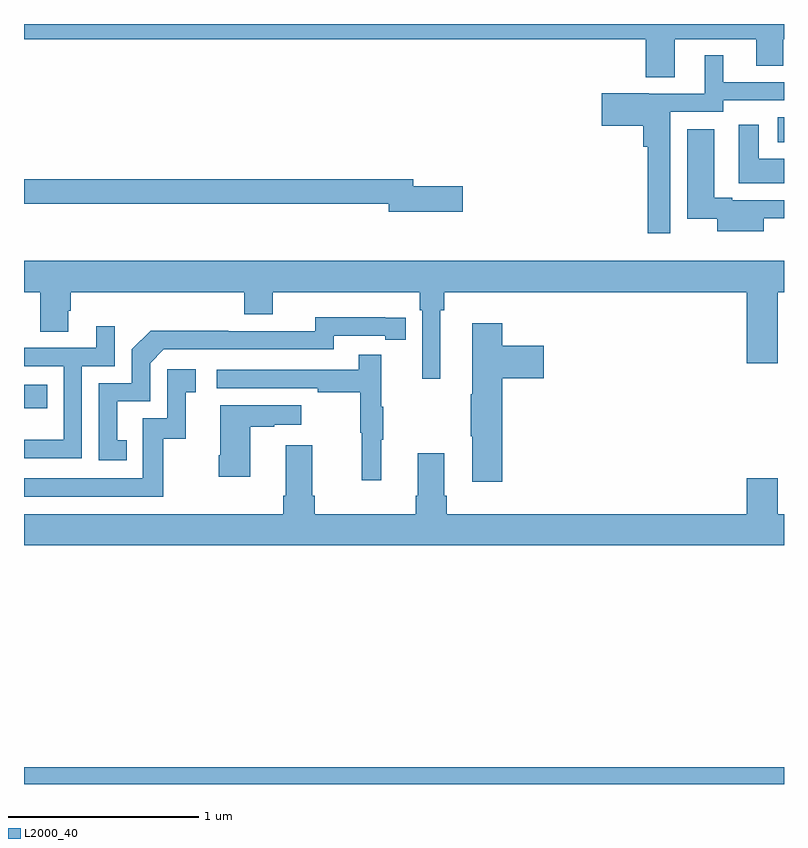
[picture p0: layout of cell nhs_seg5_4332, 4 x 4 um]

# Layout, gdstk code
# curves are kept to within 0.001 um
import gdstk
lib = gdstk.Library(unit=1e-6, precision=1e-09)
def R(c, l, rs):  # rectangles x0, y0, x1, y1
    for r in rs: c.add(gdstk.rectangle(r[:2], r[2:], *l))
def P(c, l, *ps):  # polygons
    for p in ps: c.add(gdstk.Polygon(p, *l))
L2000_40 = (2000, 40)

nhs_seg5_4332 = lib.new_cell('nhs_seg5_4332')
R(nhs_seg5_4332, L2000_40, [(365,892.799,369,892.888), (365,894.777,365.123,894.9), (368.967,896.177,369,896.308)])
P(nhs_seg5_4332, L2000_40, [(365,896.72),(368.273,896.72),(368.273,896.519),(368.425,896.519),(368.425,896.72),(368.855,896.72),(368.855,896.578),(368.995,896.578),(368.995,896.72),(369,896.72),(369,896.799),(365,896.799)],
  [(368.4,896.337),(368.679,896.337),(368.679,896.397),(369,896.397),(369,896.493),(368.68,896.493),(368.68,896.635),(368.582,896.635),(368.582,896.433),(368.289,896.433),(368.289,896.434),(368.04,896.434),(368.04,896.264),(368.258,896.264),(368.258,896.153),(368.284,896.153),(368.284,895.698),(368.4,895.698)],
  [(369,896.089),(368.866,896.089),(368.866,896.269),(368.762,896.269),(368.762,895.961),(369,895.961)],
  [(368.893,895.776),(369,895.776),(369,895.872),(368.728,895.872),(368.728,895.885),(368.632,895.885),(368.632,896.245),(368.492,896.245),(368.492,895.774),(368.648,895.774),(368.648,895.709),(368.893,895.709)],
  [(367.309,895.946),(367.048,895.946),(367.048,895.982),(365,895.982),(365,895.854),(366.92,895.854),(366.92,895.811),(367.309,895.811)],
  [(367.192,895.292),(367.211,895.292),(367.211,895.388),(368.804,895.388),(368.804,895.014),(368.968,895.014),(368.968,895.388),(369,895.388),(369,895.552),(365,895.552),(365,895.388),(365.086,895.388),(365.086,895.18),(365.233,895.18),(365.233,895.29),(365.246,895.29),(365.246,895.388),(366.158,895.388),(366.158,895.271),(366.31,895.271),(366.31,895.388),(367.082,895.388),(367.082,895.292),(367.095,895.292),(367.095,894.933),(367.192,894.933)],
  [(365.54,894.609),(365.491,894.609),(365.491,894.813),(365.664,894.813),(365.664,895.014),(365.736,895.086),(366.63,895.086),(366.63,895.158),(366.902,895.158),(366.902,895.138),(367.01,895.138),(367.01,895.254),(366.534,895.255),(366.534,895.182),(366.074,895.182),(366.074,895.184),(365.666,895.184),(365.568,895.086),(365.568,894.909),(365.394,894.909),(365.394,894.504),(365.54,894.504)],
  [(367.517,894.935),(367.735,894.935),(367.735,895.105),(367.517,895.105),(367.517,895.225),(367.358,895.225),(367.358,894.851),(367.351,894.851),(367.351,894.628),(367.358,894.628),(367.358,894.39),(367.517,894.39)],
  [(365.304,894.999),(365.478,894.999),(365.478,895.207),(365.381,895.207),(365.381,895.095),(365,895.095),(365,894.999),(365.208,894.999),(365.208,894.61),(365,894.61),(365,894.513),(365.304,894.513)],
  [(366.881,894.611),(366.892,894.611),(366.892,894.785),(366.881,894.785),(366.881,895.057),(366.763,895.057),(366.763,894.978),(366.015,894.978),(366.015,894.882),(366.547,894.882),(366.547,894.862),(366.771,894.862),(366.771,894.648),(366.778,894.648),(366.778,894.399),(366.881,894.399)],
  [(365.734,894.615),(365.852,894.615),(365.852,894.861),(365.905,894.861),(365.905,894.982),(365.754,894.982),(365.754,894.723),(365.625,894.723),(365.625,894.408),(365,894.408),(365,894.312),(365.734,894.312)],
  [(366.19,894.679),(366.317,894.679),(366.317,894.689),(366.46,894.689),(366.46,894.793),(366.032,894.793),(366.032,894.529),(366.025,894.529),(366.025,894.417),(366.19,894.417)],
  [(369,894.22),(368.968,894.22),(368.968,894.409),(368.804,894.409),(368.804,894.22),(367.226,894.22),(367.226,894.316),(367.213,894.316),(367.213,894.541),(367.073,894.541),(367.073,894.316),(367.061,894.316),(367.061,894.22),(366.53,894.22),(366.53,894.316),(366.517,894.316),(366.517,894.583),(366.377,894.583),(366.377,894.316),(366.365,894.316),(366.365,894.22),(365,894.22),(365,894.056),(369,894.056)])

lib.write_gds('nhs_seg5_4332.gds')
